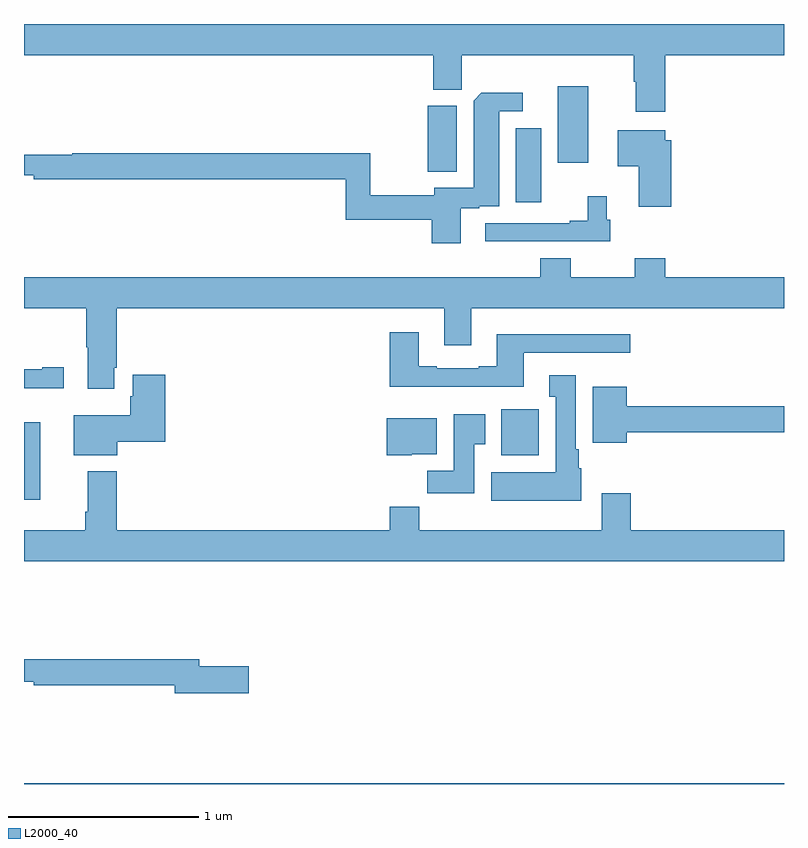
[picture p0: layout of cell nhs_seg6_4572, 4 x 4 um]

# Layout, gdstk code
import gdstk
lib = gdstk.Library(unit=1e-6, precision=1e-09)
def R(c, l, rs):  # rectangles x0, y0, x1, y1
    for r in rs: c.add(gdstk.rectangle(r[:2], r[2:], *l))
def P(c, l, *ps):  # polygons
    for p in ps: c.add(gdstk.Polygon(p, *l))
L2000_40 = (2000, 40)

nhs_seg6_4572 = lib.new_cell('nhs_seg6_4572')
R(nhs_seg6_4572, L2000_40, [(381,943.5,385,943.504), (381,944.997,381.085,945.403), (383.513,945.23,383.71,945.472), (383.588,946.562,383.722,946.951), (383.126,946.723,383.278,947.07), (383.81,946.77,383.971,947.173)])
P(nhs_seg6_4572, L2000_40, [(384.374,947.336),(385,947.336),(385,947.5),(381,947.5),(381,947.336),(383.153,947.336),(383.153,947.155),(383.303,947.155),(383.303,947.336),(384.209,947.336),(384.209,947.195),(384.221,947.195),(384.221,947.037),(384.374,947.037)],
  [(383.299,946.53),(383.396,946.53),(383.396,946.542),(383.5,946.542),(383.5,947.04),(383.626,947.04),(383.626,947.138),(383.407,947.138),(383.366,947.096),(383.366,946.638),(383.159,946.638),(383.159,946.598),(382.822,946.598),(382.822,946.82),(381.254,946.82),(381.254,946.813),(381,946.813),(381,946.703),(381.052,946.703),(381.052,946.684),(382.693,946.684),(382.693,946.47),(383.147,946.47),(383.147,946.347),(383.299,946.347)],
  [(384.407,946.887),(384.376,946.887),(384.376,946.942),(384.125,946.942),(384.125,946.751),(384.236,946.751),(384.236,946.539),(384.407,946.539)],
  [(384.086,946.47),(384.067,946.47),(384.067,946.594),(383.968,946.594),(383.968,946.465),(383.873,946.465),(383.873,946.452),(383.427,946.452),(383.427,946.356),(384.086,946.356)],
  [(381.475,945.691),(381.488,945.691),(381.488,946.004),(383.213,946.004),(383.213,945.81),(383.353,945.81),(383.353,946.004),(385,946.004),(385,946.168),(384.374,946.168),(384.374,946.267),(384.214,946.267),(384.214,946.168),(383.877,946.168),(383.877,946.267),(383.717,946.267),(383.717,946.168),(381,946.168),(381,946.004),(381.328,946.004),(381.328,945.8),(381.335,945.8),(381.335,945.579),(381.475,945.579)],
  [(383.629,945.771),(384.19,945.771),(384.19,945.868),(383.489,945.868),(383.489,945.7),(383.393,945.7),(383.393,945.687),(383.173,945.687),(383.173,945.7),(383.077,945.7),(383.077,945.877),(382.925,945.877),(382.925,945.59),(383.629,945.59)],
  [(381.208,945.694),(381.095,945.694),(381.095,945.684),(381,945.684),(381,945.584),(381.208,945.584)],
  [(381.49,945.302),(381.743,945.302),(381.743,945.655),(381.572,945.655),(381.572,945.54),(381.56,945.54),(381.56,945.442),(381.263,945.442),(381.263,945.23),(381.49,945.23)],
  [(383.932,945.162),(383.92,945.162),(383.92,945.262),(383.905,945.262),(383.905,945.652),(383.765,945.652),(383.765,945.539),(383.798,945.539),(383.798,945.142),(383.459,945.142),(383.459,944.99),(383.932,944.99)],
  [(384.172,945.352),(385,945.352),(385,945.488),(384.172,945.488),(384.172,945.592),(383.993,945.592),(383.993,945.296),(384.172,945.296)],
  [(383.371,945.289),(383.428,945.289),(383.428,945.445),(383.261,945.445),(383.261,945.148),(383.122,945.148),(383.122,945.03),(383.371,945.03)],
  [(383.04,945.236),(383.173,945.236),(383.173,945.424),(382.91,945.424),(382.91,945.23),(383.04,945.23)],
  [(385,944.836),(384.194,944.836),(384.194,945.031),(384.041,945.031),(384.041,944.836),(383.081,944.836),(383.081,944.96),(382.925,944.96),(382.925,944.836),(381.488,944.836),(381.488,945.145),(381.335,945.145),(381.335,944.932),(381.323,944.932),(381.323,944.836),(381,944.836),(381,944.672),(385,944.672)],
  [(382.183,944.12),(381.922,944.12),(381.922,944.156),(381,944.156),(381,944.039),(381.052,944.039),(381.052,944.02),(381.794,944.02),(381.794,943.978),(382.183,943.978)])

lib.write_gds('nhs_seg6_4572.gds')
